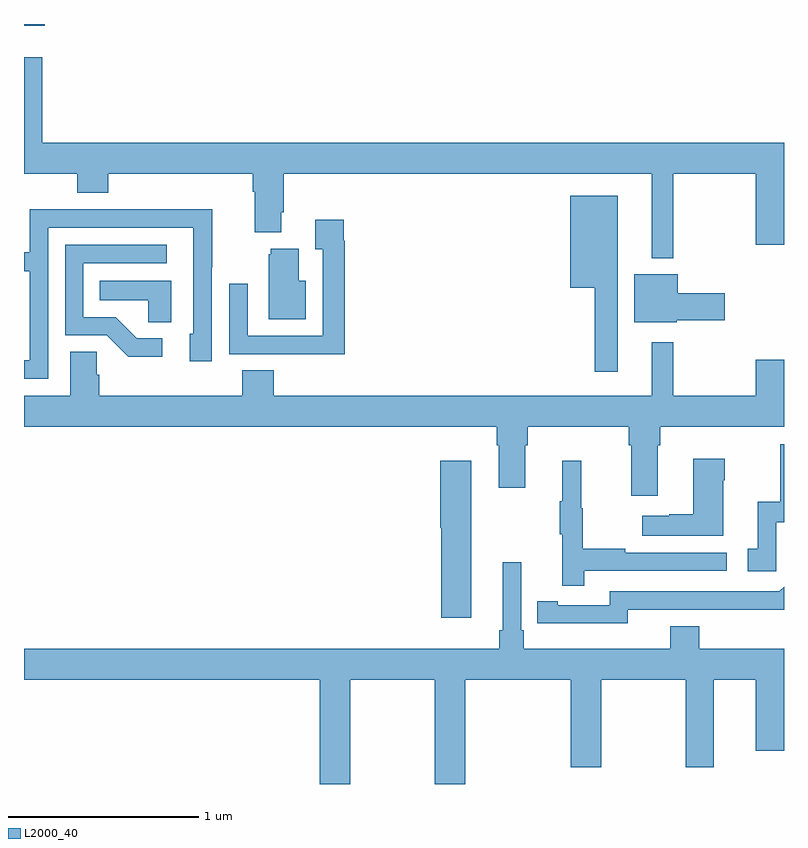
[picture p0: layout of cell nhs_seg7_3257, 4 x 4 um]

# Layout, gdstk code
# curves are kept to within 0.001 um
import gdstk
lib = gdstk.Library(unit=1e-6, precision=1e-09)
def R(c, l, rs):  # rectangles x0, y0, x1, y1
    for r in rs: c.add(gdstk.rectangle(r[:2], r[2:], *l))
def P(c, l, *ps):  # polygons
    for p in ps: c.add(gdstk.Polygon(p, *l))
L2000_40 = (2000, 40)

nhs_seg7_3257 = lib.new_cell('nhs_seg7_3257')
R(nhs_seg7_3257, L2000_40, [(317,1071.992,317.11,1072)])
P(nhs_seg7_3257, L2000_40, [(320.417,1071.212),(320.852,1071.212),(320.852,1070.838),(321,1070.838),(321,1071.376),(317.095,1071.376),(317.095,1071.826),(317,1071.826),(317,1071.212),(317.279,1071.212),(317.279,1071.113),(317.444,1071.113),(317.444,1071.212),(318.203,1071.212),(318.203,1071.116),(318.215,1071.116),(318.215,1070.903),(318.355,1070.903),(318.355,1071.01),(318.368,1071.01),(318.368,1071.212),(320.303,1071.212),(320.303,1070.768),(320.417,1070.768)],
  [(320.125,1071.097),(319.874,1071.097),(319.874,1070.612),(320.004,1070.612),(320.004,1070.169),(320.125,1070.169)],
  [(317.127,1070.928),(317.892,1070.928),(317.892,1070.37),(317.873,1070.37),(317.873,1070.226),(317.988,1070.226),(317.988,1070.719),(317.991,1070.719),(317.991,1071.026),(317.527,1071.026),(317.527,1071.024),(317.031,1071.024),(317.031,1070.799),(317,1070.799),(317,1070.698),(317.031,1070.698),(317.031,1070.229),(317,1070.229),(317,1070.133),(317.127,1070.133)],
  [(318.689,1070.858),(318.682,1070.858),(318.682,1070.971),(318.533,1070.971),(318.533,1070.815),(318.573,1070.815),(318.573,1070.358),(318.177,1070.358),(318.177,1070.632),(318.081,1070.632),(318.081,1070.262),(318.397,1070.262),(318.397,1070.261),(318.689,1070.261)],
  [(317.728,1070.346),(317.593,1070.346),(317.482,1070.457),(317.313,1070.457),(317.313,1070.742),(317.752,1070.742),(317.752,1070.838),(317.217,1070.838),(317.217,1070.361),(317.436,1070.361),(317.549,1070.249),(317.728,1070.249)],
  [(318.484,1070.65),(318.445,1070.65),(318.445,1070.818),(318.299,1070.818),(318.299,1070.787),(318.287,1070.787),(318.287,1070.447),(318.484,1070.447)],
  [(320.436,1070.44),(320.689,1070.44),(320.689,1070.582),(320.44,1070.582),(320.44,1070.683),(320.213,1070.683),(320.213,1070.429),(320.436,1070.429)],
  [(317.776,1070.65),(317.398,1070.65),(317.398,1070.546),(317.655,1070.546),(317.655,1070.431),(317.776,1070.431)],
  [(318.314,1070.177),(318.149,1070.177),(318.149,1070.044),(317.396,1070.044),(317.396,1070.153),(317.382,1070.153),(317.382,1070.276),(317.243,1070.276),(317.243,1070.044),(317,1070.044),(317,1069.88),(319.487,1069.88),(319.487,1069.784),(319.499,1069.784),(319.499,1069.56),(319.639,1069.56),(319.639,1069.784),(319.652,1069.784),(319.652,1069.88),(320.183,1069.88),(320.183,1069.784),(320.195,1069.784),(320.195,1069.518),(320.335,1069.518),(320.335,1069.784),(320.348,1069.784),(320.348,1069.88),(321,1069.88),(321,1070.233),(320.852,1070.233),(320.852,1070.044),(320.417,1070.044),(320.417,1070.326),(320.303,1070.326),(320.303,1070.044),(318.314,1070.044)],
  [(320.958,1069.377),(321,1069.377),(321,1069.788),(320.979,1069.788),(320.979,1069.486),(320.861,1069.486),(320.861,1069.239),(320.808,1069.239),(320.808,1069.119),(320.958,1069.119)],
  [(320.68,1069.598),(320.688,1069.598),(320.688,1069.711),(320.522,1069.711),(320.522,1069.421),(320.396,1069.421),(320.396,1069.411),(320.253,1069.411),(320.253,1069.307),(320.68,1069.307)],
  [(319.354,1069.702),(319.19,1069.702),(319.19,1069.35),(319.196,1069.35),(319.196,1068.876),(319.354,1068.876)],
  [(319.949,1069.122),(320.698,1069.122),(320.698,1069.218),(320.165,1069.218),(320.165,1069.238),(319.942,1069.238),(319.942,1069.452),(319.934,1069.452),(319.934,1069.702),(319.832,1069.702),(319.832,1069.489),(319.821,1069.489),(319.821,1069.315),(319.832,1069.315),(319.832,1069.044),(319.949,1069.044)],
  [(317,1068.548),(318.557,1068.548),(318.557,1068),(318.717,1068),(318.717,1068.548),(319.162,1068.548),(319.162,1068),(319.322,1068),(319.322,1068.548),(319.877,1068.548),(319.877,1068.087),(320.037,1068.087),(320.037,1068.548),(320.482,1068.548),(320.482,1068.087),(320.629,1068.087),(320.629,1068.548),(320.852,1068.548),(320.852,1068.174),(321,1068.174),(321,1068.712),(320.555,1068.712),(320.555,1068.829),(320.402,1068.829),(320.402,1068.712),(319.631,1068.712),(319.631,1068.808),(319.617,1068.808),(319.617,1069.168),(319.52,1069.168),(319.52,1068.808),(319.501,1068.808),(319.501,1068.712),(317,1068.712)],
  [(320.178,1068.918),(321,1068.917),(321,1069.038),(320.976,1069.014),(320.082,1069.014),(320.082,1068.942),(319.81,1068.942),(319.81,1068.962),(319.702,1068.962),(319.702,1068.846),(320.178,1068.845)])

lib.write_gds('nhs_seg7_3257.gds')
